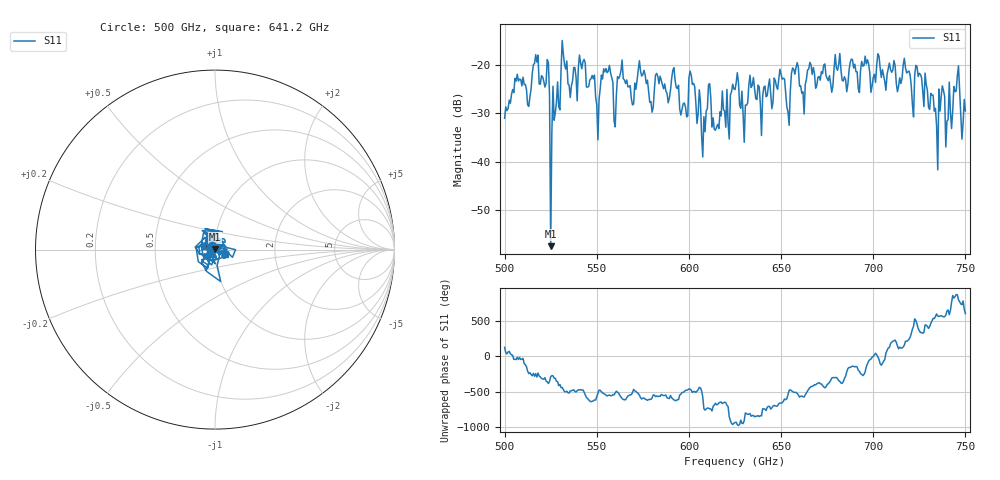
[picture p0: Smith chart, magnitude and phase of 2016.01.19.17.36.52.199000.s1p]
!Created with skrf (http://scikit-rf.org).
# GHz S RI R 50.0
!freq ReS11 ImS11
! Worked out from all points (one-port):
!   401 points, 500 GHz to 750 GHz, reference 50 ohm
!   lowest |S11| = -57.5 dB at 525 GHz (marker M1), VSWR 1.00, Z = 50 + j0.127 ohm
!   |S11| at or under -10 dB: start of sweep to end of sweep
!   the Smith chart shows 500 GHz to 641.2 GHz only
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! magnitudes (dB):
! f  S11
! 500 GHz  -31.0
! 506.9 GHz  -21.9
! 513.1 GHz  -28.5
! 516.9 GHz  -17.8
! 523.1 GHz  -18.8
! 525 GHz  -57.5
! 526.2 GHz  -24.3
! 531.2 GHz  -14.9
! 541.9 GHz  -20.7
! 550.6 GHz  -35.4
! 562.5 GHz  -22.2
! 593.8 GHz  -24.9
! 598.1 GHz  -28.6
! 601.9 GHz  -24.0
! 608.1 GHz  -30.7
! 610.6 GHz  -24.0
! 615 GHz  -32.8
! 625 GHz  -25.0
! 630.6 GHz  -28.3
! 633.8 GHz  -24.6
! 650.6 GHz  -22.9
! 653.8 GHz  -29.7
! 656.2 GHz  -20.6
! 687.5 GHz  -19.4
! 718.8 GHz  -21.4
! 733.8 GHz  -28.9
! 745 GHz  -25.4
! 750 GHz  -29.5
